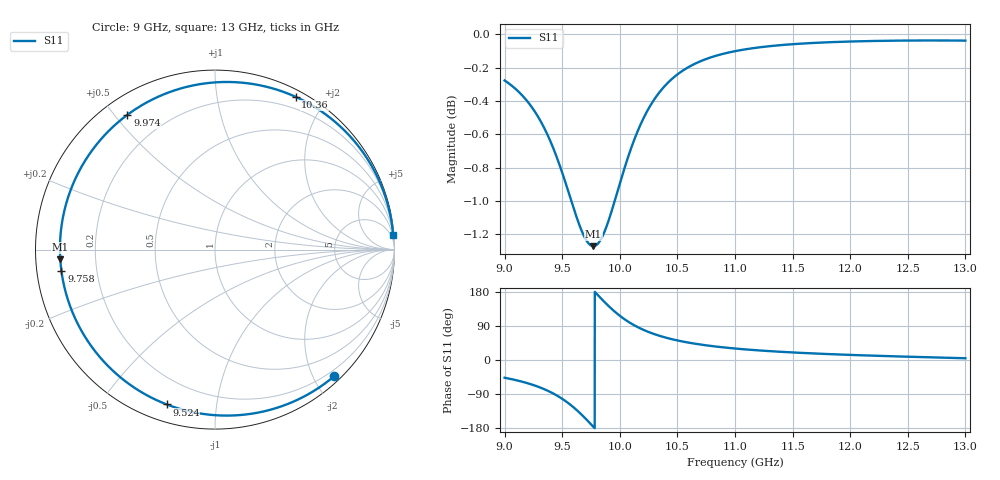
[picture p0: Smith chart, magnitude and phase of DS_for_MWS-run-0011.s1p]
! TOUCHSTONE file generated by CST DESIGN STUDIO
! Date and time: Tue Feb  4 18:30:47 2025
! Project name: C:\Work\MatlabApps\UnitCellOptimizationMatlab\CST\unitcell.cst
! Tree item: Tasks\Sweep1\SPara1\S-Parameters
! Header version: 2024
! Port assignment regex: !\s*Touchstone port\s*([0-9]+)\s*=\s*(CST MWS port|CST DES external port|CST DES block port)\s*(.+)\s* \(\"(.*)\"\)(\s*mode\s*([0-9]+))?.*
! Touchstone port assignment:
! Touchstone port 1 = CST DES external port 1 ("")
# GHz S MA R 50
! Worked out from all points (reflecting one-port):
!   4001 points, 9 GHz to 13 GHz, reference 50 ohm
!   lowest |S11| = -1.3 dB at 9.771 GHz (marker M1), VSWR 13.68, Z = 3.66 - j1.58 ohm
!   phase of S11 starts at -47 deg and turns -309 deg over the sweep
!   S11 on the Smith chart (normalised r, x): 9 GHz: 0.10, -2.31; 9.524 GHz: 0.08, -0.73; 9.758 GHz: 0.07, -0.07; 9.974 GHz: 0.07, +0.54; 10.36 GHz: 0.07, +1.65; 13 GHz: 1, +25
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9  0.9686 -46.8
9.143  0.9595 -56.5
9.273  0.9467 -68.5
9.339  0.938 -76.3
9.403  0.9278 -85.3
9.5  0.9088 -102.4
9.524  0.9036 -107.4
9.582  0.8906 -120.7
9.637  0.8789 -135.2
9.702  0.8682 -154.4
9.758  0.864 -172.1
9.771  0.8638 -176.4
9.815  0.8657 169.4
9.861  0.8715 154.9
9.919  0.8827 137.7
9.974  0.8956 123.0
10  0.9019 116.7
10.067  0.9176 102.3
10.143  0.9331 88.7
10.248  0.9497 74.1
10.362  0.9624 62.2
10.5  0.9727 51.6
10.717  0.9821 40.1
11  0.9884 30.3
11.5  0.9932 19.9
12  0.995 13.4
12.5  0.9957 8.7
13  0.9956 4.6
